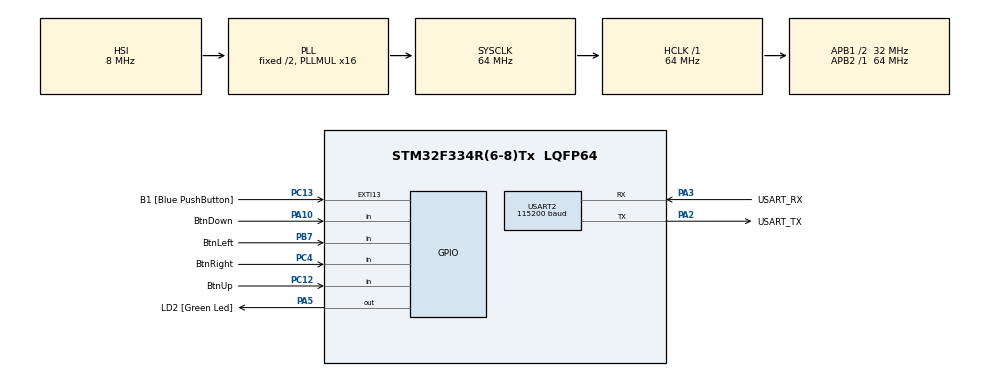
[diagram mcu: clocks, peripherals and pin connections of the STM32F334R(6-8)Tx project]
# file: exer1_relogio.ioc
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Mcu.Family=STM32F3
Mcu.Name=STM32F334R(6-8)Tx
Mcu.Package=LQFP64
NVIC.PriorityGroup=NVIC_PRIORITYGROUP_0
PA10.GPIO_Label=BtnDown
PA10.Signal=GPIO_Input
PA13.GPIO_Label=TMS
PA13.Mode=Serial_Wire
PA13.Signal=SYS_JTMS-SWDIO
PA14.GPIO_Label=TCK
PA14.Mode=Serial_Wire
PA14.Signal=SYS_JTCK-SWCLK
PA2.GPIO_Label=USART_TX
PA2.Mode=Asynchronous
PA2.Signal=USART2_TX
PA3.GPIO_Label=USART_RX
PA3.Mode=Asynchronous
PA3.Signal=USART2_RX
PA5.GPIO_Label=LD2 [Green Led]
PA5.Signal=GPIO_Output
PB3.GPIO_Label=SWO
PB3.Signal=SYS_JTDO-TRACESWO
PB7.GPIO_Label=BtnLeft
PB7.Signal=GPIO_Input
PC12.GPIO_Label=BtnUp
PC12.Signal=GPIO_Input
PC13.GPIO_Label=B1 [Blue PushButton]
PC13.GPIO_ModeDefaultEXTI=GPIO_MODE_IT_FALLING
PC13.Signal=GPXTI13
PC14\ /\ OSC32_IN.Mode=LSE-External-Oscillator
PC14\ /\ OSC32_IN.Signal=RCC_OSC32_IN
PC15\ /\ OSC32_OUT.GPIO_Label=RCC_OSC32_OUT
PC15\ /\ OSC32_OUT.Mode=LSE-External-Oscillator
PC15\ /\ OSC32_OUT.Signal=RCC_OSC32_OUT
PC4.GPIO_Label=BtnRight
PC4.Signal=GPIO_Input
PF0\ /\ OSC_IN.Mode=HSE-External-Clock-Source
PF0\ /\ OSC_IN.Signal=RCC_OSC_IN
PF1\ /\ OSC_OUT.Signal=RCC_OSC_OUT
ProjectManager.HeapSize=0x200
ProjectManager.StackSize=0x400
ProjectManager.TargetToolchain=STM32CubeIDE
RCC.AHBFreq_Value=64000000
RCC.APB1CLKDivider=RCC_HCLK_DIV2
RCC.APB1Freq_Value=32000000
RCC.APB1TimFreq_Value=64000000
RCC.APB2Freq_Value=64000000
RCC.APB2TimFreq_Value=64000000
RCC.CortexFreq_Value=64000000
RCC.FLatency-AdvancedSettings=FLASH_LATENCY_2
RCC.HCLKFreq_Value=64000000
RCC.HSE_VALUE=8000000
RCC.HSI_VALUE=8000000
RCC.PLLMUL=RCC_PLL_MUL16
RCC.SYSCLKFreq_VALUE=64000000
RCC.SYSCLKSourceVirtual=RCC_SYSCLKSOURCE_PLLCLK
USART2.BaudRate=115200
USART2.VirtualMode-Asynchronous=VM_ASYNC
board=NUCLEO-F334R8

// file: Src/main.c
/* USER CODE BEGIN Header */
/**
  ******************************************************************************
  * @file           : main.c
  * @brief          : Main program body
  ******************************************************************************
  * @attention
  *
  * <h2><center>&copy; Copyright (c) 2019 STMicroelectronics.
  * All rights reserved.</center></h2>
  *
  * This software component is licensed by ST under BSD 3-Clause license,
  * the "License"; You may not use this file except in compliance with the
  * License. You may obtain a copy of the License at:
  *                        opensource.org/licenses/BSD-3-Clause
  *
  ******************************************************************************
  */
/* USER CODE END Header */

#include "main.h"

UART_HandleTypeDef huart2;

void SystemClock_Config(void);
static void MX_GPIO_Init(void);
static void MX_USART2_UART_Init(void);

int main(void)
{

  /* MCU Configuration--------------------------------------------------------*/

  /* Reset of all peripherals, Initializes the Flash interface and the Systick. */
  HAL_Init();

  /* Configure the system clock */
  SystemClock_Config();

  /* Initialize all configured peripherals */
  MX_GPIO_Init();
  MX_USART2_UART_Init();
  /* USER CODE BEGIN 2 */
  int hora = 0;
  int minuto = 0;
  int segundo = 0;
  char Buffer[100];

  /* USER CODE END 2 */

  /* Infinite loop */
  /* USER CODE BEGIN WHILE */
  while (1)
  {
    if (segundo == 60){
	  minuto++;
	  segundo = 0;
	  	  if (minuto == 60){
	  		  hora++;
	  		  segundo = 0;
	  		  minuto = 0;
	  		  if(hora == 24){
				  hora = 0;
				  minuto = 0;
				  segundo = 0;
	  		  }
	  	  }
	  }
	  segundo++;

	  sprintf(Buffer,"Relogio: %d:%d:%d\r\n",hora,minuto,segundo);

	  HAL_UART_Transmit(&huart2,(char*)Buffer, 50, 100)!= HAL_OK;

	  HAL_GPIO_TogglePin(GPIOA, GPIO_PIN_5);

	  HAL_Delay(1000);
	  /* USER CODE END WHILE */

  }
}

void SystemClock_Config(void)
{
  RCC_OscInitTypeDef RCC_OscInitStruct = {0};
  RCC_ClkInitTypeDef RCC_ClkInitStruct = {0};

  /** Initializes the CPU, AHB and APB busses clocks
  */
  RCC_OscInitStruct.OscillatorType = RCC_OSCILLATORTYPE_HSI;
  RCC_OscInitStruct.HSIState = RCC_HSI_ON;
  RCC_OscInitStruct.HSICalibrationValue = RCC_HSICALIBRATION_DEFAULT;
  RCC_OscInitStruct.PLL.PLLState = RCC_PLL_ON;
  RCC_OscInitStruct.PLL.PLLSource = RCC_PLLSOURCE_HSI;
  RCC_OscInitStruct.PLL.PLLMUL = RCC_PLL_MUL16;
  if (HAL_RCC_OscConfig(&RCC_OscInitStruct) != HAL_OK)
  {
    Error_Handler();
  }
  /** Initializes the CPU, AHB and APB busses clocks
  */
  RCC_ClkInitStruct.ClockType = RCC_CLOCKTYPE_HCLK|RCC_CLOCKTYPE_SYSCLK
                              |RCC_CLOCKTYPE_PCLK1|RCC_CLOCKTYPE_PCLK2;
  RCC_ClkInitStruct.SYSCLKSource = RCC_SYSCLKSOURCE_PLLCLK;
  RCC_ClkInitStruct.AHBCLKDivider = RCC_SYSCLK_DIV1;
  RCC_ClkInitStruct.APB1CLKDivider = RCC_HCLK_DIV2;
  RCC_ClkInitStruct.APB2CLKDivider = RCC_HCLK_DIV1;

  if (HAL_RCC_ClockConfig(&RCC_ClkInitStruct, FLASH_LATENCY_2) != HAL_OK)
  {
    Error_Handler();
  }
}

static void MX_USART2_UART_Init(void)
{

  huart2.Instance = USART2;
  huart2.Init.BaudRate = 9600;
  huart2.Init.WordLength = UART_WORDLENGTH_8B;
  huart2.Init.StopBits = UART_STOPBITS_1;
  huart2.Init.Parity = UART_PARITY_NONE;
  huart2.Init.Mode = UART_MODE_TX_RX;
  huart2.Init.HwFlowCtl = UART_HWCONTROL_NONE;
  huart2.Init.OverSampling = UART_OVERSAMPLING_16;
  huart2.Init.OneBitSampling = UART_ONE_BIT_SAMPLE_DISABLE;
  huart2.AdvancedInit.AdvFeatureInit = UART_ADVFEATURE_NO_INIT;
  if (HAL_UART_Init(&huart2) != HAL_OK)
  {
    Error_Handler();
  }

}

static void MX_GPIO_Init(void)
{
  GPIO_InitTypeDef GPIO_InitStruct = {0};

  /* GPIO Ports Clock Enable */
  __HAL_RCC_GPIOC_CLK_ENABLE();
  __HAL_RCC_GPIOF_CLK_ENABLE();
  __HAL_RCC_GPIOA_CLK_ENABLE();
  __HAL_RCC_GPIOB_CLK_ENABLE();

  /*Configure GPIO pin Output Level */
  HAL_GPIO_WritePin(LD2_GPIO_Port, LD2_Pin, GPIO_PIN_RESET);

  /*Configure GPIO pin : B1_Pin */
  GPIO_InitStruct.Pin = B1_Pin;
  GPIO_InitStruct.Mode = GPIO_MODE_IT_FALLING;
  GPIO_InitStruct.Pull = GPIO_NOPULL;
  HAL_GPIO_Init(B1_GPIO_Port, &GPIO_InitStruct);

  /*Configure GPIO pin : LD2_Pin */
  GPIO_InitStruct.Pin = LD2_Pin;
  GPIO_InitStruct.Mode = GPIO_MODE_OUTPUT_PP;
  GPIO_InitStruct.Pull = GPIO_NOPULL;
  GPIO_InitStruct.Speed = GPIO_SPEED_FREQ_LOW;
  HAL_GPIO_Init(LD2_GPIO_Port, &GPIO_InitStruct);

  /*Configure GPIO pins : BtnRight_Pin BtnUp_Pin */
  GPIO_InitStruct.Pin = BtnRight_Pin|BtnUp_Pin;
  GPIO_InitStruct.Mode = GPIO_MODE_INPUT;
  GPIO_InitStruct.Pull = GPIO_NOPULL;
  HAL_GPIO_Init(GPIOC, &GPIO_InitStruct);

  /*Configure GPIO pin : BtnDown_Pin */
  GPIO_InitStruct.Pin = BtnDown_Pin;
  GPIO_InitStruct.Mode = GPIO_MODE_INPUT;
  GPIO_InitStruct.Pull = GPIO_NOPULL;
  HAL_GPIO_Init(BtnDown_GPIO_Port, &GPIO_InitStruct);

  /*Configure GPIO pin : BtnLeft_Pin */
  GPIO_InitStruct.Pin = BtnLeft_Pin;
  GPIO_InitStruct.Mode = GPIO_MODE_INPUT;
  GPIO_InitStruct.Pull = GPIO_NOPULL;
  HAL_GPIO_Init(BtnLeft_GPIO_Port, &GPIO_InitStruct);

}

void Error_Handler(void)
{
}

/************************ (C) COPYRIGHT STMicroelectronics *****END OF FILE****/
